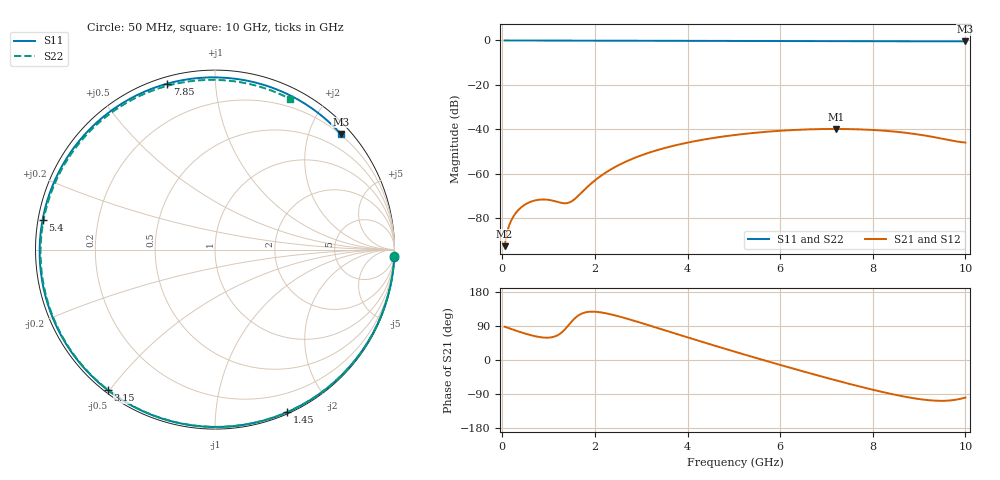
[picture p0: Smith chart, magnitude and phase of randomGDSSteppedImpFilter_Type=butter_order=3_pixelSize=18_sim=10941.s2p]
! freq	dB(S11)	phase(S11)	dB(S12)	phase(S12)
!  dB(S21)	phase(S21)	dB(S22)	phase(S22)
!S-par simulation data
#  GHz  S  DB  R 50
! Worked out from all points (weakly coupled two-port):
!   200 points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, 50 MHz to 10 GHz, reference 50 ohm
!   highest |S21| = -39.84 dB at 7.2 GHz (marker M1); lowest = -92.6 dB at 50 MHz (marker M2)
!   lowest |S11| = -0.4 dB at 10 GHz (marker M3), VSWR 40.49, Z = 9.34 + j128 ohm
!   |S11| at or under -10 dB: nowhere
!   |S22| runs from -0.6 to 0.0 dB; largest |S21 - S12| = 0
!   S11 on the Smith chart (normalised r, x): 50 MHz: 0, -47; 1.45 GHz: 0.02, -1.54; 3.15 GHz: 0.01, -0.49; 5.4 GHz: 0.01, +0.09; 7.85 GHz: 0.03, +0.75; 10 GHz: 0.19, +2.56
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0.05  -0.00 -2.4  -92.62 87.8  -92.62 87.8  -0.00 -2.0
0.2  -0.01 -9.6  -80.75 81.4  -80.75 81.4  -0.01 -8.0
0.45  -0.03 -21.4  -74.46 71.3  -74.46 71.3  -0.03 -17.8
0.7  -0.04 -33.0  -72.05 63.0  -72.05 63.0  -0.04 -27.6
1.1  -0.06 -51.0  -72.17 60.9  -72.17 60.9  -0.05 -42.9
1.3  -0.07 -59.7  -73.22 74.4  -73.22 74.4  -0.06 -50.4
1.45  -0.08 -66.0  -72.94 94.6  -72.94 94.6  -0.07 -55.9
1.75  -0.09 -78.2  -67.70 124.1  -67.70 124.1  -0.08 -66.6
2.05  -0.10 -89.7  -62.18 126.9  -62.18 126.9  -0.09 -76.9
2.35  -0.11 -100.7  -57.98 120.3  -57.98 120.3  -0.10 -86.9
3.15  -0.13 -127.4  -50.65 92.2  -50.65 92.2  -0.13 -111.8
3.4  -0.14 -135.0  -49.05 82.6  -49.05 82.6  -0.14 -119.1
4.2  -0.17 -158.0  -45.18 52.2  -45.18 52.2  -0.17 -141.3
5.05  -0.20 179.3  -42.49 20.8  -42.49 20.8  -0.21 -163.4
5.4  -0.22 170.3  -41.69 8.2  -41.69 8.2  -0.23 -172.3
6.05  -0.25 153.6  -40.59 -14.7  -40.59 -14.7  -0.27 171.4
6.7  -0.28 136.8  -39.98 -37.0  -39.98 -37.0  -0.31 155.1
7.2  -0.31 123.7  -39.84 -53.6  -39.84 -53.6  -0.34 142.3
7.85  -0.33 106.1  -40.14 -74.0  -40.14 -74.0  -0.39 125.2
8.35  -0.36 92.1  -40.80 -88.3  -40.80 -88.3  -0.43 111.6
9.15  -0.39 68.7  -42.88 -105.3  -42.88 -105.3  -0.49 88.8
10  -0.43 42.6  -45.97 -99.1  -45.97 -99.1  -0.56 63.6
